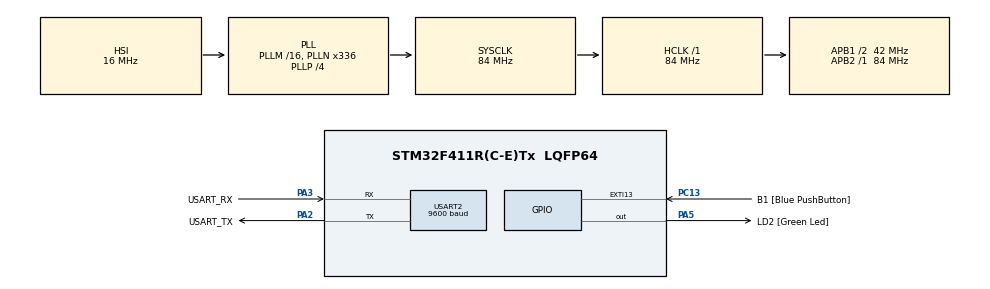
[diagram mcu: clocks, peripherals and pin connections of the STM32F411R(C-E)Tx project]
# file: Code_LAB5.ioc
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Dma.Request0=USART2_RX
Dma.Request1=USART2_TX
Dma.USART2_RX.0.Direction=DMA_PERIPH_TO_MEMORY
Dma.USART2_RX.0.FIFOMode=DMA_FIFOMODE_DISABLE
Dma.USART2_RX.0.Instance=DMA1_Stream5
Dma.USART2_RX.0.MemDataAlignment=DMA_MDATAALIGN_BYTE
Dma.USART2_RX.0.MemInc=DMA_MINC_ENABLE
Dma.USART2_RX.0.Mode=DMA_CIRCULAR
Dma.USART2_RX.0.PeriphDataAlignment=DMA_PDATAALIGN_BYTE
Dma.USART2_RX.0.PeriphInc=DMA_PINC_DISABLE
Dma.USART2_RX.0.Priority=DMA_PRIORITY_LOW
Dma.USART2_TX.1.Direction=DMA_MEMORY_TO_PERIPH
Dma.USART2_TX.1.FIFOMode=DMA_FIFOMODE_DISABLE
Dma.USART2_TX.1.Instance=DMA1_Stream6
Dma.USART2_TX.1.MemDataAlignment=DMA_MDATAALIGN_BYTE
Dma.USART2_TX.1.MemInc=DMA_MINC_ENABLE
Dma.USART2_TX.1.Mode=DMA_NORMAL
Dma.USART2_TX.1.PeriphDataAlignment=DMA_PDATAALIGN_BYTE
Dma.USART2_TX.1.PeriphInc=DMA_PINC_DISABLE
Dma.USART2_TX.1.Priority=DMA_PRIORITY_LOW
Mcu.Family=STM32F4
Mcu.Name=STM32F411R(C-E)Tx
Mcu.Package=LQFP64
NVIC.DMA1_Stream5_IRQn=true\:0\:0\:false\:false\:true\:false\:true\:true
NVIC.DMA1_Stream6_IRQn=true\:0\:0\:false\:false\:true\:false\:true\:true
NVIC.PriorityGroup=NVIC_PRIORITYGROUP_0
NVIC.USART2_IRQn=true\:0\:0\:false\:false\:true\:true\:true\:true
PA13.GPIO_Label=TMS
PA13.Mode=Serial_Wire
PA13.Signal=SYS_JTMS-SWDIO
PA14.GPIO_Label=TCK
PA14.Mode=Serial_Wire
PA14.Signal=SYS_JTCK-SWCLK
PA2.GPIO_Label=USART_TX
PA2.Mode=Asynchronous
PA2.Signal=USART2_TX
PA3.GPIO_Label=USART_RX
PA3.Mode=Asynchronous
PA3.Signal=USART2_RX
PA5.GPIO_Label=LD2 [Green Led]
PA5.Signal=GPIO_Output
PB3.GPIO_Label=SWO
PB3.Signal=SYS_JTDO-SWO
PC13-ANTI_TAMP.GPIO_Label=B1 [Blue PushButton]
PC13-ANTI_TAMP.GPIO_ModeDefaultEXTI=GPIO_MODE_IT_FALLING
PC13-ANTI_TAMP.Signal=GPXTI13
PC14-OSC32_IN.Mode=LSE-External-Oscillator
PC14-OSC32_IN.Signal=RCC_OSC32_IN
PC15-OSC32_OUT.Mode=LSE-External-Oscillator
PC15-OSC32_OUT.Signal=RCC_OSC32_OUT
PH0\ -\ OSC_IN.Mode=HSE-External-Clock-Source
PH0\ -\ OSC_IN.Signal=RCC_OSC_IN
PH1\ -\ OSC_OUT.Mode=HSE-External-Clock-Source
PH1\ -\ OSC_OUT.Signal=RCC_OSC_OUT
ProjectManager.HeapSize=0x200
ProjectManager.StackSize=0x400
ProjectManager.TargetToolchain=STM32CubeIDE
RCC.48MHZClocksFreq_Value=84000000
RCC.AHBFreq_Value=84000000
RCC.APB1CLKDivider=RCC_HCLK_DIV2
RCC.APB1Freq_Value=42000000
RCC.APB1TimFreq_Value=84000000
RCC.APB2Freq_Value=84000000
RCC.APB2TimFreq_Value=84000000
RCC.CortexFreq_Value=84000000
RCC.FLatency-AdvancedSettings=FLASH_LATENCY_2
RCC.HCLKFreq_Value=84000000
RCC.HSE_VALUE=8000000
RCC.HSI_VALUE=16000000
RCC.PLLN=336
RCC.PLLP=RCC_PLLP_DIV4
RCC.SYSCLKFreq_VALUE=84000000
RCC.SYSCLKSource=RCC_SYSCLKSOURCE_PLLCLK
RCC.VCOOutputFreq_Value=336000000
USART2.BaudRate=9600
USART2.VirtualMode=VM_ASYNC
board=NUCLEO-F411RE

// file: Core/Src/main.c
/* USER CODE BEGIN Header */
/**
  ******************************************************************************
  * @file           : main.c
  * @brief          : Main program body
  ******************************************************************************
  * @attention
  *
  * Copyright (c) 2023 STMicroelectronics.
  * All rights reserved.
  *
  * This software is licensed under terms that can be found in the LICENSE file
  * in the root directory of this software component.
  * If no LICENSE file comes with this software, it is provided AS-IS.
  *
  ******************************************************************************
  */
/* USER CODE END Header */
#include "main.h"

/* USER CODE BEGIN Includes */
#include "stdio.h"
#include "string.h"
/* USER CODE END Includes */

UART_HandleTypeDef huart2;
DMA_HandleTypeDef hdma_usart2_rx;
DMA_HandleTypeDef hdma_usart2_tx;

/* USER CODE BEGIN PV */
uint8_t RxBuffer[10]; //Size of RX
uint8_t TxBuffer[100]; //Size of TX

enum screen {HomePage,LedControl,ButtonStatus,Err};
enum screen state;

uint8_t Blink_Hz = 1; //Blink time
uint8_t Led_work = 1; //On Led
uint8_t My_Button[10];
uint8_t My_Button_Before;//For Edge Check

//To check that did it show the interface?
uint8_t HomePage_do = 0;
uint8_t LedControl_do = 0;
uint8_t ButtonStatus_do = 0;
uint8_t Err_do = 0;

//ASCII Code 0(000) is Non-Function(Reset) code

uint8_t time_out = 100; // for time out

/* USER CODE END PV */

void SystemClock_Config(void);
static void MX_GPIO_Init(void);
static void MX_DMA_Init(void);
static void MX_USART2_UART_Init(void);
/* USER CODE BEGIN PFP */
//void UARTInterruptConfig(); // to set interrupt
void UARTDMAConfig();// set dma
void clear_screen();
/* USER CODE END PFP */

int main(void)
{

  /* MCU Configuration--------------------------------------------------------*/

  /* Reset of all peripherals, Initializes the Flash interface and the Systick. */
  HAL_Init();

  /* Configure the system clock */
  SystemClock_Config();

  /* Initialize all configured peripherals */
  MX_GPIO_Init();
  MX_DMA_Init();
  MX_USART2_UART_Init();
  /* USER CODE BEGIN 2 */
  UARTDMAConfig();
  state = HomePage;
  /* USER CODE END 2 */

  /* Infinite loop */
  while (1)
  {

    /* USER CODE BEGIN 3 */
		  switch (state) {
			case HomePage:
				//----------------------------------------------#Interface#----------------------------------------------
				if(HomePage_do == 0){
					HomePage_do = 1;
					LedControl_do = 0;
					ButtonStatus_do = 0;
					Err_do = 0;

					clear_screen();

					HAL_UART_Transmit(&huart2, TxBuffer, strlen((char*)TxBuffer), time_out);
					sprintf((char*)TxBuffer,"-------- FRA223 LAB5 UART 6444 -------- \r\n");
					HAL_UART_Transmit(&huart2, TxBuffer, strlen((char*)TxBuffer), time_out);
					sprintf((char*)TxBuffer,"\r\n");
					HAL_UART_Transmit(&huart2, TxBuffer, strlen((char*)TxBuffer), time_out);
					sprintf((char*)TxBuffer,"         [0] LED Control\r\n");
					HAL_UART_Transmit(&huart2, TxBuffer, strlen((char*)TxBuffer), time_out);
					sprintf((char*)TxBuffer,"         [1] Button Status\r\n");
					HAL_UART_Transmit(&huart2, TxBuffer, strlen((char*)TxBuffer), time_out);
					sprintf((char*)TxBuffer,"\r\n");
					HAL_UART_Transmit(&huart2, TxBuffer, strlen((char*)TxBuffer), time_out);
					sprintf((char*)TxBuffer,"Type the Following button in [_] to use the Function \r\n");
					HAL_UART_Transmit(&huart2, TxBuffer, strlen((char*)TxBuffer), time_out);

				}
				//----------------------------------------------#Action#----------------------------------------------
				if(RxBuffer[0] == 48 ){ //(0) go to led control page
					state = LedControl;
					RxBuffer[0] = 0; //If it didn't do it will not reset
				}
				else if(RxBuffer[0] == 49){ //(1) go to Button status page
					state = ButtonStatus;
					RxBuffer[0] = 0; //If it didn't do it will not reset
				}
				else if(RxBuffer[0] != 0 && RxBuffer[0] != 49 && RxBuffer[0] != 48){//Wrong Input
					state = Err;
					RxBuffer[0] = 0; //If it didn't do it will not reset
				}
				break;
			case LedControl:
				//----------------------------------------------#Interface#----------------------------------------------
				if(LedControl_do == 0){
					HomePage_do = 0;
					LedControl_do = 1;
					ButtonStatus_do = 0;
					Err_do = 0;

					clear_screen();
					sprintf((char*)TxBuffer,"-------- LED Control Blink Function -------- \r\n");
					HAL_UART_Transmit(&huart2, TxBuffer, strlen((char*)TxBuffer), time_out);
					sprintf((char*)TxBuffer,"---------- #LED now Blink %d Hz ------------- \r\n",Blink_Hz);
					HAL_UART_Transmit(&huart2, TxBuffer, strlen((char*)TxBuffer), time_out);
					sprintf((char*)TxBuffer,"\r\n");
					HAL_UART_Transmit(&huart2, TxBuffer, strlen((char*)TxBuffer), time_out);
					sprintf((char*)TxBuffer,"         [a] Speed Up +1 Hz\r\n");
					HAL_UART_Transmit(&huart2, TxBuffer, strlen((char*)TxBuffer), time_out);
					sprintf((char*)TxBuffer,"         [s] Speed Down -1 Hz\r\n");
					HAL_UART_Transmit(&huart2, TxBuffer, strlen((char*)TxBuffer), time_out);
					sprintf((char*)TxBuffer,"         [d] On/Off\r\n");
					HAL_UART_Transmit(&huart2, TxBuffer, strlen((char*)TxBuffer), time_out);
					sprintf((char*)TxBuffer,"         [x] Home Page\r\n");
					HAL_UART_Transmit(&huart2, TxBuffer, strlen((char*)TxBuffer), time_out);
					sprintf((char*)TxBuffer,"\r\n");
					HAL_UART_Transmit(&huart2, TxBuffer, strlen((char*)TxBuffer), time_out);
					sprintf((char*)TxBuffer,"Type the Following button in [_] to use the Function \r\n");
					HAL_UART_Transmit(&huart2, TxBuffer, strlen((char*)TxBuffer), time_out);

				}
				//----------------------------------------------#Action#----------------------------------------------
				if(RxBuffer[0] == 120){ //(x) go to led home page
					state = HomePage;
					RxBuffer[0] = 0; //If it didn't do it will not reset
				}
				else if(RxBuffer[0] == 97){//(a) +1Hz
					Blink_Hz = Blink_Hz + 1;
					LedControl_do = 0; //for next frame
					RxBuffer[0] = 0;
					if(Blink_Hz > 255) Blink_Hz = 255; //Maximum
				}
				else if(RxBuffer[0] == 115){//(s) -1Hz
					Blink_Hz = Blink_Hz - 1;
					LedControl_do = 0; //for next frame
					RxBuffer[0] = 0;
					if(Blink_Hz < 1) Blink_Hz = 1; //Minimum
				}
				else if(RxBuffer[0] == 100){//(d) On/off
					if(Led_work == 0) Led_work = 1;
					else if(Led_work == 1){
						Led_work = 0;
						HAL_GPIO_WritePin(GPIOA, GPIO_PIN_5, 0);
					}
					RxBuffer[0] = 0;
				}
				else if(RxBuffer[0] != 0 && RxBuffer[0] != 97 && RxBuffer[0] != 115 && RxBuffer[0] != 100 && RxBuffer[0] != 120){//Wrong Input
					state = Err;
					RxBuffer[0] = 0; //If it didn't do it will not reset
				}
				break;
			case ButtonStatus:
				//----------------------------------------------#Interface#----------------------------------------------
				if(ButtonStatus_do == 0){
					HomePage_do = 0;
					LedControl_do = 0;
					ButtonStatus_do = 1;
					Err_do = 0;

					clear_screen();
					sprintf((char*)TxBuffer,"-------- Button Status Check Function -------- \r\n");
					HAL_UART_Transmit(&huart2, TxBuffer, strlen((char*)TxBuffer), time_out);
					sprintf((char*)TxBuffer,"---------- #My Button is now %s ------------- \r\n",My_Button);
					HAL_UART_Transmit(&huart2, TxBuffer, strlen((char*)TxBuffer), time_out);
					sprintf((char*)TxBuffer,"\r\n");
					HAL_UART_Transmit(&huart2, TxBuffer, strlen((char*)TxBuffer), time_out);
					sprintf((char*)TxBuffer,"         [x] Home Page\r\n");
					HAL_UART_Transmit(&huart2, TxBuffer, strlen((char*)TxBuffer), time_out);
					sprintf((char*)TxBuffer,"\r\n");
					HAL_UART_Transmit(&huart2, TxBuffer, strlen((char*)TxBuffer), time_out);
					sprintf((char*)TxBuffer,"Type the Following button in [_] to use the Function \r\n");
					HAL_UART_Transmit(&huart2, TxBuffer, strlen((char*)TxBuffer), time_out);
				}
				//----------------------------------------------#Action#----------------------------------------------
				if(RxBuffer[0] == 120){ //(x) go to led home page
					state = HomePage;
					RxBuffer[0] = 0; //If it didn't do it will not reset
				}
				else if(RxBuffer[0] != 0 && RxBuffer[0] != 120){//Wrong Input
					state = Err;
					RxBuffer[0] = 0; //If it didn't do it will not reset
				}
				if(HAL_GPIO_ReadPin(GPIOC, GPIO_PIN_13) == 1 && My_Button_Before == 0) {
					sprintf((char*)My_Button,"Unpressed");
					ButtonStatus_do = 0; //for next frame
				}
				else if(HAL_GPIO_ReadPin(GPIOC, GPIO_PIN_13) == 0 && My_Button_Before == 1) {
					sprintf((char*)My_Button,"Pressed");
					ButtonStatus_do = 0; //for next frame
				}
				//Button
				My_Button_Before = HAL_GPIO_ReadPin(GPIOC, GPIO_PIN_13);
				break;

				break;
			case Err:
				//----------------------------------------------#Interface#----------------------------------------------
				if(Err_do == 0){
					HomePage_do = 0;
					LedControl_do = 0;
					ButtonStatus_do = 0;
					Err_do = 1;

					clear_screen();
					sprintf((char*)TxBuffer,"************ Wrong Input! ************ \r\n");
					HAL_UART_Transmit(&huart2, TxBuffer, strlen((char*)TxBuffer), time_out);
					sprintf((char*)TxBuffer,"\r\n");
					HAL_UART_Transmit(&huart2, TxBuffer, strlen((char*)TxBuffer), time_out);
					sprintf((char*)TxBuffer,"       Type [x] to Home Page\r\n");
					HAL_UART_Transmit(&huart2, TxBuffer, strlen((char*)TxBuffer), time_out);
				}
				//----------------------------------------------#Action#----------------------------------------------
				if(RxBuffer[0] == 120){ //(x) go to led home page
					state = HomePage;
					RxBuffer[0] = 0; //If it didn't do it will not reset
				}

		}
		  //Led Blink
		  if(Led_work == 1){
		  static uint32_t timestamp = 0;
			  if(timestamp < HAL_GetTick()){
				timestamp = HAL_GetTick() + (500/Blink_Hz);
				HAL_GPIO_TogglePin(GPIOA, GPIO_PIN_5);
			  }
		  }

  }
  /* USER CODE END 3 */
}

void SystemClock_Config(void)
{
  RCC_OscInitTypeDef RCC_OscInitStruct = {0};
  RCC_ClkInitTypeDef RCC_ClkInitStruct = {0};

  /** Configure the main internal regulator output voltage
  */
  __HAL_RCC_PWR_CLK_ENABLE();
  __HAL_PWR_VOLTAGESCALING_CONFIG(PWR_REGULATOR_VOLTAGE_SCALE1);

  /** Initializes the RCC Oscillators according to the specified parameters
  * in the RCC_OscInitTypeDef structure.
  */
  RCC_OscInitStruct.OscillatorType = RCC_OSCILLATORTYPE_HSI;
  RCC_OscInitStruct.HSIState = RCC_HSI_ON;
  RCC_OscInitStruct.HSICalibrationValue = RCC_HSICALIBRATION_DEFAULT;
  RCC_OscInitStruct.PLL.PLLState = RCC_PLL_ON;
  RCC_OscInitStruct.PLL.PLLSource = RCC_PLLSOURCE_HSI;
  RCC_OscInitStruct.PLL.PLLM = 16;
  RCC_OscInitStruct.PLL.PLLN = 336;
  RCC_OscInitStruct.PLL.PLLP = RCC_PLLP_DIV4;
  RCC_OscInitStruct.PLL.PLLQ = 4;
  if (HAL_RCC_OscConfig(&RCC_OscInitStruct) != HAL_OK)
  {
    Error_Handler();
  }

  /** Initializes the CPU, AHB and APB buses clocks
  */
  RCC_ClkInitStruct.ClockType = RCC_CLOCKTYPE_HCLK|RCC_CLOCKTYPE_SYSCLK
                              |RCC_CLOCKTYPE_PCLK1|RCC_CLOCKTYPE_PCLK2;
  RCC_ClkInitStruct.SYSCLKSource = RCC_SYSCLKSOURCE_PLLCLK;
  RCC_ClkInitStruct.AHBCLKDivider = RCC_SYSCLK_DIV1;
  RCC_ClkInitStruct.APB1CLKDivider = RCC_HCLK_DIV2;
  RCC_ClkInitStruct.APB2CLKDivider = RCC_HCLK_DIV1;

  if (HAL_RCC_ClockConfig(&RCC_ClkInitStruct, FLASH_LATENCY_2) != HAL_OK)
  {
    Error_Handler();
  }
}

static void MX_USART2_UART_Init(void)
{

  huart2.Instance = USART2;
  huart2.Init.BaudRate = 9600;
  huart2.Init.WordLength = UART_WORDLENGTH_8B;
  huart2.Init.StopBits = UART_STOPBITS_1;
  huart2.Init.Parity = UART_PARITY_NONE;
  huart2.Init.Mode = UART_MODE_TX_RX;
  huart2.Init.HwFlowCtl = UART_HWCONTROL_NONE;
  huart2.Init.OverSampling = UART_OVERSAMPLING_16;
  if (HAL_UART_Init(&huart2) != HAL_OK)
  {
    Error_Handler();
  }

}

static void MX_DMA_Init(void)
{

  /* DMA controller clock enable */
  __HAL_RCC_DMA1_CLK_ENABLE();

  /* DMA interrupt init */
  /* DMA1_Stream5_IRQn interrupt configuration */
  HAL_NVIC_SetPriority(DMA1_Stream5_IRQn, 0, 0);
  HAL_NVIC_EnableIRQ(DMA1_Stream5_IRQn);
  /* DMA1_Stream6_IRQn interrupt configuration */
  HAL_NVIC_SetPriority(DMA1_Stream6_IRQn, 0, 0);
  HAL_NVIC_EnableIRQ(DMA1_Stream6_IRQn);

}

static void MX_GPIO_Init(void)
{
  GPIO_InitTypeDef GPIO_InitStruct = {0};

  /* GPIO Ports Clock Enable */
  __HAL_RCC_GPIOC_CLK_ENABLE();
  __HAL_RCC_GPIOH_CLK_ENABLE();
  __HAL_RCC_GPIOA_CLK_ENABLE();
  __HAL_RCC_GPIOB_CLK_ENABLE();

  /*Configure GPIO pin Output Level */
  HAL_GPIO_WritePin(LD2_GPIO_Port, LD2_Pin, GPIO_PIN_RESET);

  /*Configure GPIO pin : B1_Pin */
  GPIO_InitStruct.Pin = B1_Pin;
  GPIO_InitStruct.Mode = GPIO_MODE_IT_FALLING;
  GPIO_InitStruct.Pull = GPIO_NOPULL;
  HAL_GPIO_Init(B1_GPIO_Port, &GPIO_InitStruct);

  /*Configure GPIO pin : LD2_Pin */
  GPIO_InitStruct.Pin = LD2_Pin;
  GPIO_InitStruct.Mode = GPIO_MODE_OUTPUT_PP;
  GPIO_InitStruct.Pull = GPIO_NOPULL;
  GPIO_InitStruct.Speed = GPIO_SPEED_FREQ_LOW;
  HAL_GPIO_Init(LD2_GPIO_Port, &GPIO_InitStruct);

}

/* USER CODE BEGIN 4 */
/*void UARTInterruptConfig(){
	HAL_UART_Receive_IT(&huart2, RxBuffer, 1); // START Interrupt // Interrupt when collect 1 ASCII
}
void HAL_UART_RxCpltCallback(UART_HandleTypeDef *huart){
	if(huart == &huart2){
		RxBuffer[2] = '\0';

		//sprintf((char*)TxBuffer,"Received : %s\r\n",RxBuffer);
		//HAL_UART_Transmit_IT(&huart2, TxBuffer, strlen((char*)TxBuffer));

		HAL_UART_Receive_IT(&huart2, RxBuffer, 1);
	}
}*/
void UARTDMAConfig(){
	HAL_UART_Receive_DMA(&huart2, RxBuffer, 1); // START DMA
}
void clear_screen(){
	for (int i = 0; i < 20; ++i) {
		sprintf((char*)TxBuffer,"\r\n");
		HAL_UART_Transmit(&huart2, TxBuffer, strlen((char*)TxBuffer), 10);
	}
}
/* USER CODE END 4 */

void Error_Handler(void)
{
  __disable_irq();
  while (1)
  {
  }
}
